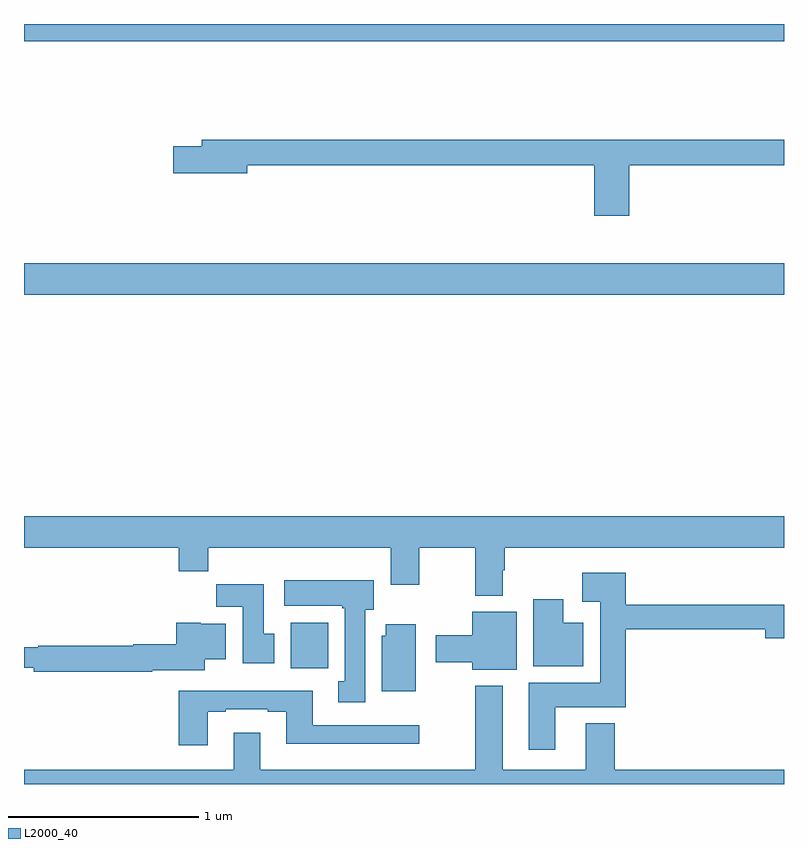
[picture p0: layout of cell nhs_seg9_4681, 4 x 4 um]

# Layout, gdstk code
import gdstk
lib = gdstk.Library(unit=1e-6, precision=1e-09)
def R(c, l, rs):  # rectangles x0, y0, x1, y1
    for r in rs: c.add(gdstk.rectangle(r[:2], r[2:], *l))
def P(c, l, *ps):  # polygons
    for p in ps: c.add(gdstk.Polygon(p, *l))
L2000_40 = (2000, 40)

nhs_seg9_4681 = lib.new_cell('nhs_seg9_4681')
R(nhs_seg9_4681, L2000_40, [(382.403,1205.108,382.6,1205.35), (381,1207.076,385,1207.24), (381,1208.408,385,1208.5)])
P(nhs_seg9_4681, L2000_40, [(384.185,1207.756),(385,1207.756),(385,1207.892),(381.935,1207.892),(381.935,1207.856),(381.786,1207.856),(381.786,1207.714),(382.174,1207.714),(382.174,1207.756),(384.002,1207.756),(384.002,1207.491),(384.185,1207.491)],
  [(383.521,1205.624),(383.529,1205.624),(383.529,1205.744),(385,1205.744),(385,1205.908),(381,1205.908),(381,1205.744),(381.815,1205.744),(381.815,1205.62),(381.971,1205.62),(381.971,1205.744),(382.931,1205.744),(382.931,1205.55),(383.079,1205.55),(383.079,1205.744),(383.374,1205.744),(383.374,1205.492),(383.521,1205.492)],
  [(383.797,1204.904),(384.167,1204.904),(384.167,1205.314),(384.902,1205.314),(384.902,1205.267),(385,1205.267),(385,1205.443),(384.167,1205.443),(384.167,1205.611),(383.937,1205.611),(383.937,1205.459),(384.032,1205.459),(384.032,1205.032),(383.657,1205.032),(383.657,1204.68),(383.797,1204.68)],
  [(382.795,1205.418),(382.84,1205.418),(382.84,1205.572),(382.371,1205.572),(382.371,1205.438),(382.675,1205.438),(382.675,1205.425),(382.688,1205.425),(382.688,1205.042),(382.655,1205.042),(382.655,1204.929),(382.795,1204.929)],
  [(382.318,1205.292),(382.261,1205.292),(382.261,1205.551),(382.012,1205.551),(382.012,1205.432),(382.151,1205.432),(382.151,1205.136),(382.318,1205.136)],
  [(383.944,1205.35),(383.839,1205.35),(383.839,1205.473),(383.681,1205.473),(383.681,1205.12),(383.944,1205.12)],
  [(383.593,1205.407),(383.36,1205.407),(383.36,1205.283),(383.166,1205.283),(383.166,1205.141),(383.36,1205.141),(383.36,1205.102),(383.593,1205.102)],
  [(381.676,1205.099),(381.952,1205.099),(381.952,1205.156),(382.063,1205.156),(382.063,1205.344),(381.93,1205.344),(381.93,1205.35),(381.8,1205.35),(381.8,1205.236),(381.576,1205.236),(381.576,1205.228),(381.076,1205.228),(381.076,1205.221),(381,1205.221),(381,1205.111),(381.052,1205.111),(381.052,1205.092),(381.676,1205.092)],
  [(383.062,1205.341),(382.904,1205.341),(382.904,1205.28),(382.883,1205.28),(382.883,1204.988),(383.062,1204.988)],
  [(385,1204.576),(384.11,1204.576),(384.11,1204.819),(383.957,1204.819),(383.957,1204.576),(383.521,1204.576),(383.521,1205.017),(383.374,1205.017),(383.374,1204.576),(382.243,1204.576),(382.243,1204.771),(382.103,1204.771),(382.103,1204.576),(381,1204.576),(381,1204.5),(385,1204.5)],
  [(381.967,1204.881),(382.063,1204.881),(382.063,1204.893),(382.283,1204.893),(382.283,1204.881),(382.379,1204.881),(382.379,1204.712),(383.08,1204.712),(383.08,1204.809),(382.519,1204.809),(382.519,1204.99),(381.815,1204.99),(381.815,1204.704),(381.967,1204.704)])

lib.write_gds('nhs_seg9_4681.gds')
